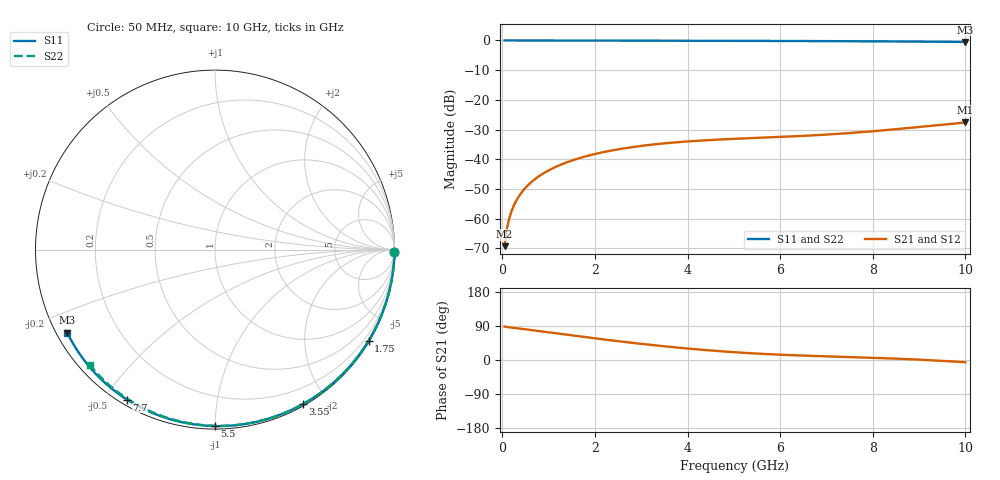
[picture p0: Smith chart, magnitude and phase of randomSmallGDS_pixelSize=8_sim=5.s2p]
! freq	dB(S11)	phase(S11)	dB(S12)	phase(S12)
!  dB(S21)	phase(S21)	dB(S22)	phase(S22)
!S-par simulation data
#  GHz  S  DB  R 50
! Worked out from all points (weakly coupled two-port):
!   200 points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, 50 MHz to 10 GHz, reference 50 ohm
!   highest |S21| = -27.61 dB at 10 GHz (marker M1); lowest = -69.2 dB at 50 MHz (marker M2)
!   lowest |S11| = -0.5 dB at 10 GHz (marker M3), VSWR 34.98, Z = 1.53 - j13.1 ohm
!   |S11| at or under -10 dB: nowhere
!   |S22| runs from -0.5 to 0.0 dB; largest |S21 - S12| = 0
!   S11 on the Smith chart (normalised r, x): 50 MHz: open; 1.75 GHz: 0.03, -3.64; 3.55 GHz: 0.02, -1.72; 5.5 GHz: 0.02, -1.00; 7.7 GHz: 0.02, -0.57; 10 GHz: 0.03, -0.26
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0.05  -0.00 -0.9  -69.24 88.2  -69.24 88.2  -0.00 -0.8
0.1  -0.00 -1.8  -63.33 87.0  -63.33 87.0  -0.00 -1.6
0.15  -0.00 -2.7  -59.89 86.2  -59.89 86.2  -0.00 -2.4
0.2  -0.00 -3.6  -57.44 85.4  -57.44 85.4  -0.00 -3.2
0.25  -0.00 -4.5  -55.54 84.7  -55.54 84.7  -0.00 -4.0
0.35  -0.00 -6.2  -52.66 83.3  -52.66 83.3  -0.00 -5.7
0.5  -0.01 -8.9  -49.61 81.0  -49.61 81.0  -0.01 -8.1
0.7  -0.01 -12.4  -46.74 77.8  -46.74 77.8  -0.01 -11.3
1  -0.02 -17.7  -43.74 73.0  -43.74 73.0  -0.02 -16.1
1.35  -0.03 -23.8  -41.27 67.3  -41.27 67.3  -0.03 -21.6
1.75  -0.04 -30.7  -39.23 61.0  -39.23 61.0  -0.04 -27.9
2.5  -0.06 -43.4  -36.65 49.7  -36.65 49.7  -0.05 -39.4
3.4  -0.08 -58.1  -34.79 37.4  -34.79 37.4  -0.07 -52.9
3.55  -0.08 -60.5  -34.56 35.5  -34.56 35.5  -0.08 -55.1
4.3  -0.10 -72.2  -33.68 27.1  -33.68 27.1  -0.09 -65.8
5.05  -0.13 -83.5  -33.08 20.2  -33.08 20.2  -0.12 -76.2
5.5  -0.15 -90.1  -32.79 17.0  -32.79 17.0  -0.13 -82.3
6.7  -0.21 -107.0  -31.95 10.8  -31.95 10.8  -0.19 -97.8
7.7  -0.27 -120.5  -30.93 7.1  -30.93 7.1  -0.25 -110.2
8.35  -0.33 -129.0  -30.08 4.4  -30.08 4.4  -0.30 -118.0
9.2  -0.41 -140.2  -28.83 -0.3  -28.83 -0.3  -0.37 -128.0
10  -0.50 -150.6  -27.61 -5.9  -27.61 -5.9  -0.46 -137.3
